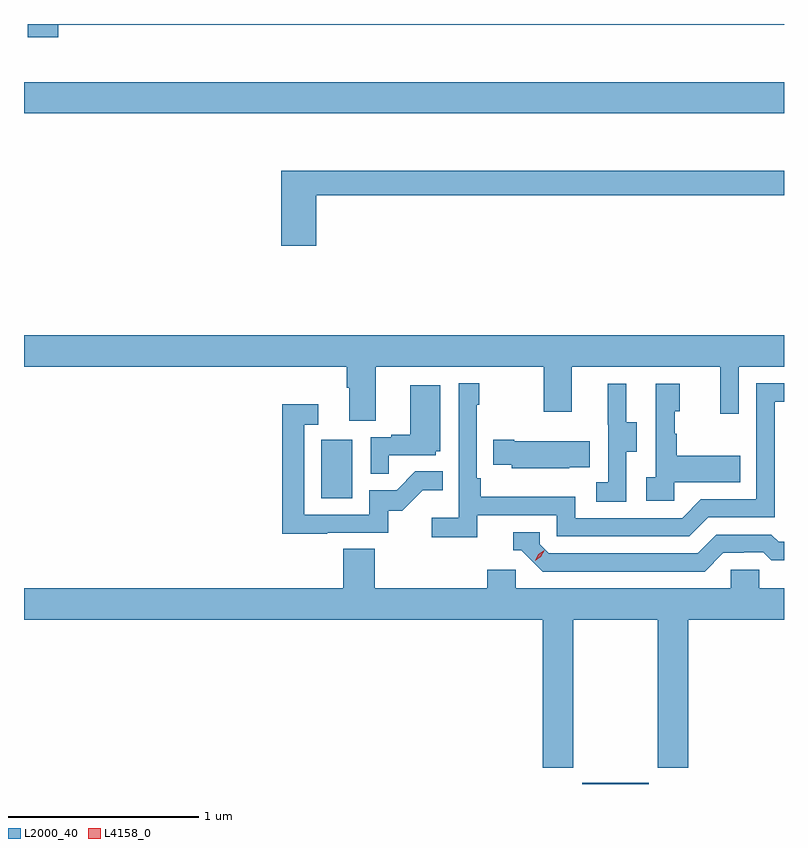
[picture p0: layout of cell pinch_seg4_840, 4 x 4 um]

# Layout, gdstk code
import gdstk
lib = gdstk.Library(unit=1e-6, precision=1e-09)
def R(c, l, rs):  # rectangles x0, y0, x1, y1
    for r in rs: c.add(gdstk.rectangle(r[:2], r[2:], *l))
def P(c, l, *ps):  # polygons
    for p in ps: c.add(gdstk.Polygon(p, *l))
L2000_40 = (2000, 40)
L4158_0 = (4158, 0)

pinch_seg4_840 = lib.new_cell('pinch_seg4_840')
R(pinch_seg4_840, L2000_40, [(876.872,798.619,877.222,798.625), (875.498,800.124,875.662,800.431), (873.934,802.148,877.934,802.312)])
P(pinch_seg4_840, L2000_40, [(874.114,802.614),(877.934,802.614),(877.934,802.619),(873.953,802.619),(873.953,802.548),(874.114,802.548)],
  [(875.471,801.718),(877.934,801.718),(877.934,801.847),(875.288,801.847),(875.288,801.453),(875.471,801.453)],
  [(875.785,800.816),(876.67,800.816),(876.67,800.577),(876.817,800.577),(876.817,800.816),(877.598,800.816),(877.598,800.568),(877.695,800.568),(877.695,800.816),(877.934,800.816),(877.934,800.98),(873.934,800.98),(873.934,800.816),(875.633,800.816),(875.633,800.704),(875.645,800.704),(875.645,800.53),(875.785,800.53)],
  [(876.32,800.034),(876.738,800.034),(876.738,799.923),(877.435,799.923),(877.534,800.022),(877.884,800.022),(877.884,800.631),(877.934,800.631),(877.934,800.727),(877.788,800.727),(877.788,800.118),(877.497,800.118),(877.398,800.019),(876.834,800.019),(876.834,800.131),(876.338,800.131),(876.338,800.227),(876.318,800.227),(876.318,800.615),(876.331,800.615),(876.331,800.728),(876.222,800.728),(876.222,800.02),(876.081,800.02),(876.081,799.918),(876.32,799.918)],
  [(877.356,800.207),(877.703,800.207),(877.703,800.347),(877.369,800.347),(877.369,800.462),(877.359,800.462),(877.359,800.58),(877.384,800.58),(877.384,800.725),(877.26,800.725),(877.26,800.234),(877.209,800.234),(877.209,800.109),(877.356,800.109)],
  [(877.104,800.368),(877.159,800.368),(877.159,800.523),(877.105,800.523),(877.105,800.725),(877.007,800.725),(877.007,800.511),(877.008,800.511),(877.008,800.207),(876.945,800.207),(876.945,800.104),(877.104,800.104)],
  [(875.855,800.349),(876.102,800.349),(876.102,800.37),(876.124,800.37),(876.124,800.719),(875.966,800.719),(875.966,800.458),(875.867,800.458),(875.867,800.445),(875.76,800.445),(875.76,800.251),(875.855,800.251)],
  [(875.531,799.941),(875.85,799.941),(875.85,800.058),(875.926,800.058),(876.033,800.165),(876.137,800.165),(876.137,800.264),(875.993,800.264),(875.895,800.166),(875.751,800.166),(875.751,800.037),(875.409,800.037),(875.409,800.511),(875.482,800.511),(875.482,800.617),(875.293,800.617),(875.293,799.936),(875.531,799.936)],
  [(876.803,800.285),(876.911,800.285),(876.911,800.422),(876.514,800.422),(876.514,800.43),(876.403,800.43),(876.403,800.3),(876.501,800.3),(876.501,800.282),(876.803,800.282)],
  [(877.615,799.836),(877.722,799.836),(877.722,799.839),(877.825,799.839),(877.867,799.797),(877.934,799.797),(877.934,799.893),(877.906,799.893),(877.867,799.932),(877.578,799.932),(877.479,799.833),(876.696,799.833),(876.648,799.881),(876.648,799.944),(876.509,799.944),(876.509,799.848),(876.552,799.848),(876.663,799.737),(877.516,799.737)],
  [(876.825,799.484),(877.27,799.484),(877.27,798.705),(877.43,798.705),(877.43,799.484),(877.934,799.484),(877.934,799.648),(877.803,799.648),(877.803,799.746),(877.653,799.746),(877.653,799.648),(876.522,799.648),(876.522,799.746),(876.371,799.746),(876.371,799.648),(875.78,799.648),(875.78,799.856),(875.615,799.856),(875.615,799.648),(873.934,799.648),(873.934,799.484),(876.665,799.484),(876.665,798.705),(876.825,798.705)])
P(pinch_seg4_840, L4158_0, [(876.624,799.795),(876.624,799.796),(876.64,799.828),(876.671,799.848),(876.671,799.848),(876.671,799.847),(876.655,799.815),(876.624,799.795)])

lib.write_gds('pinch_seg4_840.gds')
